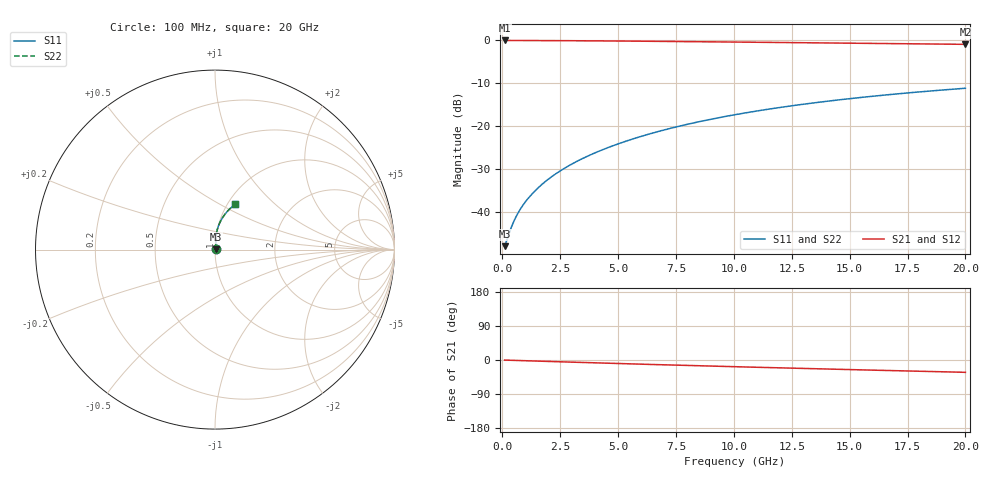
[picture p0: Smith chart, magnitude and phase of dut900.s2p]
! Touchstone file exported from HFSS 2024.1.0
!  File:  C:/UserFiles/LocalFiles/RDL_TSV_Batchsim/temp_RDL_top_900_1779935548.aedt
!  Generated:  10:36:07 AM May 28, 2026
!  Design:  RDL_top
!  Project:  temp_RDL_top_900_1779935548
!  Setup:  Setup1
!  Solution:  Sweep
! Variables:
!  dtsv = 10.80580581um
!  hbump = 3um
!  htsv = 94.52um
!  ldown = 100um
!  lrdl = 470.11um
!  p = 40
!  p1 = 43.31um
!  rhole = 1um
!  t = 450um
!  tdown = 3.915915916um
!  trdl = 2.06um
!  wdown = 15.38538539um
!  wrdl = 23.97um
# GHz S MA R 50.000000
! Terminal data exported
! Port[1] = Box2_T1
! Port[2] = Box2_T2
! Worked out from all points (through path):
!   200 points, 100 MHz to 20 GHz, reference 50 ohm
!   highest |S21| = -0.03 dB at 100 MHz (marker M1); lowest = -0.9 dB at 20 GHz (marker M2)
!   group delay of S21, straight-line fit = 4.48 ps
!   lowest |S11| = -48.0 dB at 100 MHz (marker M3), VSWR 1.01, Z = 50.4 + j0.14 ohm
!   |S11| at or under -10 dB: start of sweep to end of sweep
!   |S22| runs from -48.0 to -11.2 dB; largest |S21 - S12| = 2.6e-15
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0.1  0.003994 20.3  0.9962 -0.2  0.9962 -0.2  0.003994 20.3
! Gamma 0 0 0 0
! Port Impedance 50 0 50 0
0.4  0.006729 52.1  0.9958 -0.8  0.9958 -0.8  0.006729 52.1
0.5  0.007801 56.7  0.9955 -1.0  0.9955 -1.0  0.007801 56.7
0.6  0.008873 60.2  0.9953 -1.2  0.9953 -1.2  0.008874 60.2
0.7  0.009942 62.9  0.9951 -1.4  0.9951 -1.4  0.009942 62.9
0.9  0.01207 67.2  0.9947 -1.8  0.9947 -1.8  0.01207 67.2
1.2  0.0153 71.7  0.9942 -2.3  0.9942 -2.3  0.0153 71.7
1.4  0.01748 73.9  0.9938 -2.7  0.9938 -2.7  0.01748 73.9
1.7  0.02082 76.5  0.9931 -3.3  0.9931 -3.3  0.02082 76.5
2.2  0.02655 79.6  0.9919 -4.2  0.9919 -4.2  0.02655 79.6
2.8  0.03369 82.1  0.9902 -5.3  0.9902 -5.3  0.03369 82.0
3.5  0.04237 83.8  0.9878 -6.6  0.9878 -6.6  0.04236 83.8
4.2  0.05139 84.8  0.985 -7.9  0.985 -7.9  0.05139 84.8
5  0.06211 85.3  0.9814 -9.3  0.9814 -9.3  0.0621 85.3
5.9  0.07463 85.4  0.9771 -10.9  0.9771 -10.9  0.07461 85.3
6.8  0.08754 85.0  0.9725 -12.4  0.9725 -12.4  0.08751 84.9
8.4  0.1112 83.5  0.9638 -15.1  0.9638 -15.1  0.1111 83.5
10.1  0.1367 81.4  0.9543 -17.8  0.9543 -17.8  0.1366 81.4
11.7  0.1607 79.1  0.9452 -20.3  0.9452 -20.3  0.1606 79.0
13.4  0.1859 76.4  0.9355 -22.9  0.9355 -22.9  0.1858 76.4
16.7  0.2328 71.1  0.9166 -27.8  0.9166 -27.8  0.2326 71.1
20  0.2763 65.9  0.8978 -32.5  0.8978 -32.5  0.2762 65.8
